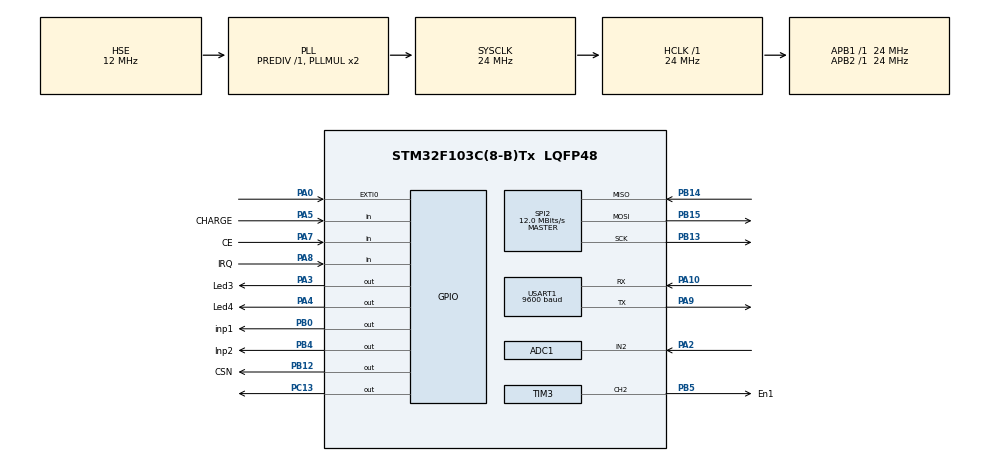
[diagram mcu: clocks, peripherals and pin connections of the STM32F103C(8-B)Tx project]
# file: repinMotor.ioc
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ADC1.Channel-0\#ChannelRegularConversion=ADC_CHANNEL_2
ADC1.NbrOfConversionFlag=1
ADC1.Rank-0\#ChannelRegularConversion=1
ADC1.SamplingTime-0\#ChannelRegularConversion=ADC_SAMPLETIME_1CYCLE_5
ADC1.master=1
Mcu.Family=STM32F1
Mcu.Name=STM32F103C(8-B)Tx
Mcu.Package=LQFP48
NVIC.EXTI0_IRQn=true\:1\:0\:true\:false\:true\:true\:true
NVIC.PriorityGroup=NVIC_PRIORITYGROUP_4
NVIC.SPI2_IRQn=true\:2\:0\:true\:false\:true\:true\:true
NVIC.USART1_IRQn=true\:2\:0\:true\:false\:true\:true\:true
PA0-WKUP.Signal=GPXTI0
PA10.Mode=Asynchronous
PA10.Signal=USART1_RX
PA13.Mode=Trace_Asynchronous_SW
PA13.Signal=SYS_JTMS-SWDIO
PA14.Mode=Trace_Asynchronous_SW
PA14.Signal=SYS_JTCK-SWCLK
PA2.Signal=ADCx_IN2
PA3.GPIO_Label=Led3
PA3.Signal=GPIO_Output
PA4.GPIO_Label=Led4
PA4.Signal=GPIO_Output
PA5.GPIO_Label=CHARGE
PA5.Signal=GPIO_Input
PA7.GPIO_Label=CE
PA7.Signal=GPIO_Input
PA8.GPIO_Label=IRQ
PA8.Signal=GPIO_Input
PA9.Mode=Asynchronous
PA9.Signal=USART1_TX
PB0.GPIO_Label=inp1
PB0.Signal=GPIO_Output
PB12.GPIO_Label=CSN
PB12.Signal=GPIO_Output
PB13.Mode=Full_Duplex_Master
PB13.Signal=SPI2_SCK
PB14.Mode=Full_Duplex_Master
PB14.Signal=SPI2_MISO
PB15.Mode=Full_Duplex_Master
PB15.Signal=SPI2_MOSI
PB3.Mode=Trace_Asynchronous_SW
PB3.Signal=SYS_JTDO-TRACESWO
PB4.GPIO_Label=Inp2
PB4.Signal=GPIO_Output
PB5.GPIO_Label=En1
PB5.Signal=S_TIM3_CH2
PC13-TAMPER-RTC.Signal=GPIO_Output
PD0-OSC_IN.Mode=HSE-External-Oscillator
PD0-OSC_IN.Signal=RCC_OSC_IN
PD1-OSC_OUT.Mode=HSE-External-Oscillator
PD1-OSC_OUT.Signal=RCC_OSC_OUT
ProjectManager.HeapSize=0x200
ProjectManager.StackSize=0x400
ProjectManager.TargetToolchain=MDK-ARM V5
RCC.AHBFreq_Value=24000000
RCC.APB1Freq_Value=24000000
RCC.APB1TimFreq_Value=24000000
RCC.APB2Freq_Value=24000000
RCC.APB2TimFreq_Value=24000000
RCC.HCLKFreq_Value=24000000
RCC.HSE_VALUE=12000000
RCC.PLLSourceVirtual=RCC_PLLSOURCE_HSE
RCC.SYSCLKFreq_VALUE=24000000
RCC.SYSCLKSource=RCC_SYSCLKSOURCE_PLLCLK
RCC.USBFreq_Value=24000000
SH.ADCx_IN2.0=ADC1_IN2,IN2
SH.S_TIM3_CH2.0=TIM3_CH2,PWM Generation2 CH2
SPI2.BaudRatePrescaler=SPI_BAUDRATEPRESCALER_2
SPI2.CalculateBaudRate=12.0 MBits/s
SPI2.Direction=SPI_DIRECTION_2LINES
SPI2.Mode=SPI_MODE_MASTER
SPI2.VirtualType=VM_MASTER
TIM3.Channel-PWM\ Generation2\ CH2=TIM_CHANNEL_2
USART1.BaudRate=9600
USART1.VirtualMode=VM_ASYNC
VP_TIM3_VS_ClockSourceINT.Mode=Internal
board=custom

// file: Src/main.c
/* USER CODE BEGIN Header */
/**
  ******************************************************************************
  * @file           : main.c
  * @brief          : Main program body
  ******************************************************************************
  * @attention
  *
  * <h2><center>&copy; Copyright (c) 2019 STMicroelectronics.
  * All rights reserved.</center></h2>
  *
  * This software component is licensed by ST under BSD 3-Clause license,
  * the "License"; You may not use this file except in compliance with the
  * License. You may obtain a copy of the License at:
  *                        opensource.org/licenses/BSD-3-Clause
  *
  ******************************************************************************
  */
/* USER CODE END Header */

#include "main.h"

/* USER CODE BEGIN Includes */
#include "MotorLib.h"
#include "nrf24.h"
#include "nrf24_hal.h"
/* USER CODE END Includes */

/* USER CODE BEGIN PTD */
#ifdef __GNUC__
/* With GCC/RAISONANCE, small printf (option LD Linker->Libraries->Small printf
   set to 'Yes') calls __io_putchar() */
#define PUTCHAR_PROTOTYPE int __io_putchar(int ch)
#else
#define PUTCHAR_PROTOTYPE int fputc(int ch, FILE *f)
#endif /* __GNUC__ */
#include <stdbool.h>
/* USER CODE END PTD */

ADC_HandleTypeDef hadc1;

SPI_HandleTypeDef hspi2;

TIM_HandleTypeDef htim3;

UART_HandleTypeDef huart1;

void SystemClock_Config(void);
static void MX_GPIO_Init(void);
static void MX_USART1_UART_Init(void);
static void MX_SPI2_Init(void);
static void MX_TIM3_Init(void);
static void MX_ADC1_Init(void);
/* USER CODE BEGIN PFP */
    static const uint8_t nRF24_ADDR0[] = { 0x01,0x01,0xE7, 0x1C, 0xE1};
		static const uint8_t nRF24_ADDR1[] = {  0x01,0x01,0xE7, 0x1C, 0xE2 };
		static const uint8_t nRF24_ADDR2[] = {  0x01,0x01,0xE7, 0x1C, 0xE3 };
		static const uint8_t nRF24_ADDR3[] = {  0x01,0x01,0xE7, 0x1C, 0xE4 };
		static const uint8_t nRF24_ADDR4[] = {  0x01,0x01,0xE7, 0x1C, 0xE5 };
		static const uint8_t nRF24_ADDR5[] = {  0x01,0x01,0xE7, 0x1C, 0xE6 };

/* USER CODE END PFP */

/* USER CODE BEGIN 0 */
PUTCHAR_PROTOTYPE
{
  /* Place your implementation of fputc here */
  /* e.g. write a character to the USART1 and Loop until the end of transmission */
  HAL_UART_Transmit(&huart1, (uint8_t *)&ch, 1, 0xFFFF);

  return ch;
}

		uint32_t	cw=0;
		uint8_t SerialModule[4];
uint16_t temp_count_error=0;
uint16_t temp_count=0;
uint8_t temp_old=0;
uint8_t payload_length=10;
uint32_t i,j,k;
uint8_t monitoreFlag=0;
// Buffer to store a payload of maximum width
uint8_t nRF24_payload[32]={0};

// Pipe number
nRF24_RXResult pipe;
#define nRF24_WAIT_TIMEOUT         (uint32_t)0x000FFFFF

// Result of packet transmission
typedef enum {
	nRF24_TX_ERROR  = (uint8_t)0x00, // Unknown error
	nRF24_TX_SUCCESS,                // Packet has been transmitted successfully
	nRF24_TX_TIMEOUT,                // It was timeout during packet transmit
	nRF24_TX_MAXRT                   // Transmit failed with maximum auto retransmit count
} nRF24_TXResult;

nRF24_TXResult tx_res;

// Function to transmit data packet
// input:
//   pBuf - pointer to the buffer with data to transmit
//   length - length of the data buffer in bytes
// return: one of nRF24_TX_xx values
nRF24_TXResult nRF24_TransmitPacket(uint8_t *pBuf, uint8_t length) {
	volatile uint32_t wait = nRF24_WAIT_TIMEOUT;
	uint8_t status;

	// Deassert the CE pin (in case if it still high)
	nRF24_CE_L();

	// Transfer a data from the specified buffer to the TX FIFO
	nRF24_WritePayload(pBuf, length);

	// Start a transmission by asserting CE pin (must be held at least 10us)
	nRF24_CE_H();

	// Poll the transceiver status register until one of the following flags will be set:
	//   TX_DS  - means the packet has been transmitted
	//   MAX_RT - means the maximum number of TX retransmits happened
	// note: this solution is far from perfect, better to use IRQ instead of polling the status
	do {
		status = nRF24_GetStatus();
		if (status & (nRF24_FLAG_TX_DS | nRF24_FLAG_MAX_RT)) {
			break;
		}
	} while (wait--);

	// Deassert the CE pin (Standby-II --> Standby-I)
	nRF24_CE_L();

	if (!wait) {
		// Timeout
		return nRF24_TX_TIMEOUT;
	}

	// Check the flags in STATUS register
//	printf("[");
//	printf("%d",status);
//	printf("] ");

	// Clear pending IRQ flags
    nRF24_ClearIRQFlags();

	if (status & nRF24_FLAG_MAX_RT) {
		// Auto retransmit counter exceeds the programmed maximum limit (FIFO is not removed)
		return nRF24_TX_MAXRT;
	}

	if (status & nRF24_FLAG_TX_DS) {
		// Successful transmission
		return nRF24_TX_SUCCESS;
	}

	// Some banana happens, a payload remains in the TX FIFO, flush it
	nRF24_FlushTX();

	return nRF24_TX_ERROR;
}

//1- iamhere 2- return data valid
void TransmitComand (uint8_t comandIdent,uint8_t tempArr[payload_length]){

	uint8_t Ident[]={2,100,100,100,100,100,100,100,100,100};

	Ident[1]=SerialModule[0];
	Ident[2]=SerialModule[1];
	Ident[3]=comandIdent;

	switch(comandIdent){
		case 1:
		//nop

		break;

		case 2:
		Ident[4]=tempArr[4];
		Ident[5]=tempArr[5];
		Ident[6]=tempArr[6];

		break;
	}
			nRF24_SetPowerMode(nRF24_PWR_DOWN);
    nRF24_SetTXPower(nRF24_TXPWR_0dBm);
    nRF24_SetOperationalMode(nRF24_MODE_TX);
    nRF24_ClearIRQFlags();
	  nRF24_SetAddr(nRF24_PIPETX, nRF24_ADDR2);
    nRF24_SetPowerMode(nRF24_PWR_UP);

	    tx_res = nRF24_TransmitPacket(Ident, payload_length);// data load

//	switch (tx_res) {
//			case nRF24_TX_SUCCESS:
//				printf("OK");
//				break;
//			case nRF24_TX_TIMEOUT:
//				printf("TIMEOUT");
//				break;
//			case nRF24_TX_MAXRT:
//				printf("MAX RETRANSMIT");
//				break;
//			default:
//				printf("ERROR");
//				break;
//		}
//    	printf("\r\n");

			nRF24_SetPowerMode(nRF24_PWR_DOWN);
    nRF24_SetOperationalMode(nRF24_MODE_RX);
    nRF24_SetPowerMode(nRF24_PWR_UP);
    nRF24_CE_H();
}

void TransmitIdentification (){
uint8_t Ident[]={2,100,100,100,100,100,100,100,100,100};

	Ident[1]=SerialModule[0];
	Ident[2]=SerialModule[1];
	Ident[3]=1;

  	nRF24_SetPowerMode(nRF24_PWR_DOWN);
    // Set TX power (maximum)
    nRF24_SetTXPower(nRF24_TXPWR_0dBm);
    // Set operational mode (PTX == transmitter)
    nRF24_SetOperationalMode(nRF24_MODE_TX);
    // Clear any pending IRQ flags
    nRF24_ClearIRQFlags();
	nRF24_SetAddr(nRF24_PIPETX, nRF24_ADDR2);
    // Wake the transceiver
    nRF24_SetPowerMode(nRF24_PWR_UP);

	    	tx_res = nRF24_TransmitPacket(Ident, payload_length);
    	switch (tx_res) {
			case nRF24_TX_SUCCESS:
				printf("OK");
				break;
			case nRF24_TX_TIMEOUT:
				printf("TIMEOUT");
				break;
			case nRF24_TX_MAXRT:
				printf("MAX RETRANSMIT");
				break;
			default:
				printf("ERROR");
				break;
		}
    	printf("\r\n");

			nRF24_SetPowerMode(nRF24_PWR_DOWN);

		 // Set operational mode (PRX == receiver)
    nRF24_SetOperationalMode(nRF24_MODE_RX);

    // Wake the transceiver
    nRF24_SetPowerMode(nRF24_PWR_UP);

    // Put the transceiver to the RX mode
    nRF24_CE_H();

}

/* USER CODE END 0 */

int main(void)
{
  /* USER CODE BEGIN 1 */
		volatile uint32_t *UniqueID = (uint32_t *)0x1FFFF7E8;
	volatile uint32_t __UniqueID[3];
	__UniqueID[0] = UniqueID[0];
	__UniqueID[1] = UniqueID[1];
	__UniqueID[2] = UniqueID[2];

	SerialModule[0]=__UniqueID[2];
	SerialModule[1]=__UniqueID[2]>>8;
	SerialModule[2]=__UniqueID[2]>>16;
	SerialModule[3]=__UniqueID[2]>>24;

  /* USER CODE END 1 */

  /* MCU Configuration--------------------------------------------------------*/

  /* Reset of all peripherals, Initializes the Flash interface and the Systick. */
  HAL_Init();

  /* Configure the system clock */
  SystemClock_Config();

  /* Initialize all configured peripherals */
  MX_GPIO_Init();
  MX_USART1_UART_Init();
  MX_SPI2_Init();
  MX_TIM3_Init();
  MX_ADC1_Init();
  /* USER CODE BEGIN 2 */

 HAL_TIM_PWM_Start(&htim3, TIM_CHANNEL_2);
 printf("\r\nSTM32F103RET6 is online.\r\n");

     // RX/TX disabled
    nRF24_CE_L();

		 	 HAL_GPIO_WritePin(GPIOA, GPIO_PIN_3, GPIO_PIN_SET);
			 HAL_Delay(2000);
		 	 HAL_GPIO_WritePin(GPIOA, GPIO_PIN_3, GPIO_PIN_RESET);

							  HAL_Delay(3000);
		    // Configure the nRF24L01+
    printf("nRF24L01+ check: ");

    while (!nRF24_Check()) {
    	printf("FAIL\r\n");
			HAL_Delay(1000);
    }

	printf("OK\r\n");
		 HAL_GPIO_WritePin(GPIOA, GPIO_PIN_3,GPIO_PIN_SET);
		  // Initialize the nRF24L01 to its default state
    nRF24_Init();

    // Disable ShockBurst for all RX pipes
    nRF24_DisableAA(0xFF);

    // Set RF channel
    nRF24_SetRFChannel(115);

    // Set data rate
    nRF24_SetDataRate(nRF24_DR_2Mbps);

    // Set CRC scheme
    nRF24_SetCRCScheme(nRF24_CRC_2byte);

    // Set address width, its common for all pipes (RX and TX)
    nRF24_SetAddrWidth(5);

    // Configure RX PIPE#0

    nRF24_SetAddr(nRF24_PIPE0, nRF24_ADDR0); // program address for RX pipe #0
		nRF24_SetAddr(nRF24_PIPE1, nRF24_ADDR1); // program address for RX pipe #1
		nRF24_SetAddr(nRF24_PIPE2, nRF24_ADDR2); // program address for RX pipe #2
		nRF24_SetAddr(nRF24_PIPE3, nRF24_ADDR3); // program address for RX pipe #3
		nRF24_SetAddr(nRF24_PIPE4, nRF24_ADDR4); // program address for RX pipe #4
		nRF24_SetAddr(nRF24_PIPE5, nRF24_ADDR5); // program address for RX pipe #5
    //nRF24_SetRXPipe(nRF24_PIPE0, nRF24_AA_OFF, 6);
		nRF24_SetRXPipe(nRF24_PIPE1, nRF24_AA_OFF, 10);
		//nRF24_SetRXPipe(nRF24_PIPE2, nRF24_AA_OFF, 6);
		//nRF24_SetRXPipe(nRF24_PIPE3, nRF24_AA_OFF, 6);
		//nRF24_SetRXPipe(nRF24_PIPE4, nRF24_AA_OFF, 6);
		//nRF24_SetRXPipe(nRF24_PIPE5, nRF24_AA_OFF, 6);

// nRF24_SetRXPipe(nRF24_PIPE1, nRF24_AA_ON, 10); // Auto-ACK: enabled, payload length: 10 bytes

    // Set operational mode (PRX == receiver)
    nRF24_SetOperationalMode(nRF24_MODE_RX);

  nRF24_ClearIRQFlags();

    // Wake the transceiver
    nRF24_SetPowerMode(nRF24_PWR_UP);

    // Put the transceiver to the RX mode
    nRF24_CE_H();

//__Set_Speed(50,1,1);

  /* USER CODE END 2 */

  /* Infinite loop */
  /* USER CODE BEGIN WHILE */
  while (1)
  {

		    	if (nRF24_GetStatus_RXFIFO() != nRF24_STATUS_RXFIFO_EMPTY) {
    		pipe = nRF24_ReadPayload(nRF24_payload, &payload_length);

			nRF24_ClearIRQFlags();

				if(temp_old!=(nRF24_payload[4]-1)){
					temp_count_error++;
					printf("temp_count_error=%d  ",temp_count_error);
					printf("packet lose=%d%%  ",100/(temp_count/(temp_count_error-temp_count/80)));
					printf("temp_count=%d",temp_count);
						printf("\r\n");
				}
	temp_count++;

	temp_old=nRF24_payload[4];

__Set_Speed(nRF24_payload[4],nRF24_payload[5],nRF24_payload[6]);
TransmitComand(2,nRF24_payload);
    	}
			else{
	if(monitoreFlag==1){
				TransmitIdentification();
		monitoreFlag=0;
	}
}

    /* USER CODE END WHILE */

  }
}

void SystemClock_Config(void)
{
  RCC_OscInitTypeDef RCC_OscInitStruct = {0};
  RCC_ClkInitTypeDef RCC_ClkInitStruct = {0};
  RCC_PeriphCLKInitTypeDef PeriphClkInit = {0};

  /** Initializes the CPU, AHB and APB busses clocks
  */
  RCC_OscInitStruct.OscillatorType = RCC_OSCILLATORTYPE_HSE;
  RCC_OscInitStruct.HSEState = RCC_HSE_ON;
  RCC_OscInitStruct.HSEPredivValue = RCC_HSE_PREDIV_DIV1;
  RCC_OscInitStruct.HSIState = RCC_HSI_ON;
  RCC_OscInitStruct.PLL.PLLState = RCC_PLL_ON;
  RCC_OscInitStruct.PLL.PLLSource = RCC_PLLSOURCE_HSE;
  RCC_OscInitStruct.PLL.PLLMUL = RCC_PLL_MUL2;
  if (HAL_RCC_OscConfig(&RCC_OscInitStruct) != HAL_OK)
  {
    Error_Handler();
  }
  /** Initializes the CPU, AHB and APB busses clocks
  */
  RCC_ClkInitStruct.ClockType = RCC_CLOCKTYPE_HCLK|RCC_CLOCKTYPE_SYSCLK
                              |RCC_CLOCKTYPE_PCLK1|RCC_CLOCKTYPE_PCLK2;
  RCC_ClkInitStruct.SYSCLKSource = RCC_SYSCLKSOURCE_PLLCLK;
  RCC_ClkInitStruct.AHBCLKDivider = RCC_SYSCLK_DIV1;
  RCC_ClkInitStruct.APB1CLKDivider = RCC_HCLK_DIV1;
  RCC_ClkInitStruct.APB2CLKDivider = RCC_HCLK_DIV1;

  if (HAL_RCC_ClockConfig(&RCC_ClkInitStruct, FLASH_LATENCY_0) != HAL_OK)
  {
    Error_Handler();
  }
  PeriphClkInit.PeriphClockSelection = RCC_PERIPHCLK_ADC;
  PeriphClkInit.AdcClockSelection = RCC_ADCPCLK2_DIV2;
  if (HAL_RCCEx_PeriphCLKConfig(&PeriphClkInit) != HAL_OK)
  {
    Error_Handler();
  }
}

static void MX_ADC1_Init(void)
{

  ADC_ChannelConfTypeDef sConfig = {0};

  /** Common config
  */
  hadc1.Instance = ADC1;
  hadc1.Init.ScanConvMode = ADC_SCAN_DISABLE;
  hadc1.Init.ContinuousConvMode = DISABLE;
  hadc1.Init.DiscontinuousConvMode = DISABLE;
  hadc1.Init.ExternalTrigConv = ADC_SOFTWARE_START;
  hadc1.Init.DataAlign = ADC_DATAALIGN_RIGHT;
  hadc1.Init.NbrOfConversion = 1;
  if (HAL_ADC_Init(&hadc1) != HAL_OK)
  {
    Error_Handler();
  }
  /** Configure Regular Channel
  */
  sConfig.Channel = ADC_CHANNEL_2;
  sConfig.Rank = ADC_REGULAR_RANK_1;
  sConfig.SamplingTime = ADC_SAMPLETIME_1CYCLE_5;
  if (HAL_ADC_ConfigChannel(&hadc1, &sConfig) != HAL_OK)
  {
    Error_Handler();
  }

}

static void MX_SPI2_Init(void)
{

  /* SPI2 parameter configuration*/
  hspi2.Instance = SPI2;
  hspi2.Init.Mode = SPI_MODE_MASTER;
  hspi2.Init.Direction = SPI_DIRECTION_2LINES;
  hspi2.Init.DataSize = SPI_DATASIZE_8BIT;
  hspi2.Init.CLKPolarity = SPI_POLARITY_LOW;
  hspi2.Init.CLKPhase = SPI_PHASE_1EDGE;
  hspi2.Init.NSS = SPI_NSS_SOFT;
  hspi2.Init.BaudRatePrescaler = SPI_BAUDRATEPRESCALER_2;
  hspi2.Init.FirstBit = SPI_FIRSTBIT_MSB;
  hspi2.Init.TIMode = SPI_TIMODE_DISABLE;
  hspi2.Init.CRCCalculation = SPI_CRCCALCULATION_DISABLE;
  hspi2.Init.CRCPolynomial = 10;
  if (HAL_SPI_Init(&hspi2) != HAL_OK)
  {
    Error_Handler();
  }

}

static void MX_TIM3_Init(void)
{

  TIM_ClockConfigTypeDef sClockSourceConfig = {0};
  TIM_MasterConfigTypeDef sMasterConfig = {0};
  TIM_OC_InitTypeDef sConfigOC = {0};

  htim3.Instance = TIM3;
  htim3.Init.Prescaler = _MotorPwmDevider;
  htim3.Init.CounterMode = TIM_COUNTERMODE_UP;
  htim3.Init.Period = _MotorPwmPeriod;
  htim3.Init.ClockDivision = TIM_CLOCKDIVISION_DIV1;
  htim3.Init.AutoReloadPreload = TIM_AUTORELOAD_PRELOAD_DISABLE;
  if (HAL_TIM_Base_Init(&htim3) != HAL_OK)
  {
    Error_Handler();
  }
  sClockSourceConfig.ClockSource = TIM_CLOCKSOURCE_INTERNAL;
  if (HAL_TIM_ConfigClockSource(&htim3, &sClockSourceConfig) != HAL_OK)
  {
    Error_Handler();
  }
  if (HAL_TIM_PWM_Init(&htim3) != HAL_OK)
  {
    Error_Handler();
  }
  sMasterConfig.MasterOutputTrigger = TIM_TRGO_RESET;
  sMasterConfig.MasterSlaveMode = TIM_MASTERSLAVEMODE_DISABLE;
  if (HAL_TIMEx_MasterConfigSynchronization(&htim3, &sMasterConfig) != HAL_OK)
  {
    Error_Handler();
  }
  sConfigOC.OCMode = TIM_OCMODE_PWM1;
  sConfigOC.Pulse = 0;
  sConfigOC.OCPolarity = TIM_OCPOLARITY_HIGH;
  sConfigOC.OCFastMode = TIM_OCFAST_DISABLE;
  if (HAL_TIM_PWM_ConfigChannel(&htim3, &sConfigOC, TIM_CHANNEL_2) != HAL_OK)
  {
    Error_Handler();
  }
  HAL_TIM_MspPostInit(&htim3);

}

static void MX_USART1_UART_Init(void)
{

  huart1.Instance = USART1;
  huart1.Init.BaudRate = 256000;
  huart1.Init.WordLength = UART_WORDLENGTH_8B;
  huart1.Init.StopBits = UART_STOPBITS_1;
  huart1.Init.Parity = UART_PARITY_NONE;
  huart1.Init.Mode = UART_MODE_TX_RX;
  huart1.Init.HwFlowCtl = UART_HWCONTROL_NONE;
  huart1.Init.OverSampling = UART_OVERSAMPLING_16;
  if (HAL_UART_Init(&huart1) != HAL_OK)
  {
    Error_Handler();
  }

}

static void MX_GPIO_Init(void)
{
  GPIO_InitTypeDef GPIO_InitStruct = {0};

  /* GPIO Ports Clock Enable */
  __HAL_RCC_GPIOC_CLK_ENABLE();
  __HAL_RCC_GPIOD_CLK_ENABLE();
  __HAL_RCC_GPIOA_CLK_ENABLE();
  __HAL_RCC_GPIOB_CLK_ENABLE();

  /*Configure GPIO pin Output Level */
  HAL_GPIO_WritePin(GPIOA, Led3_Pin|Led4_Pin, GPIO_PIN_RESET);

  /*Configure GPIO pin Output Level */
  HAL_GPIO_WritePin(GPIOB, inp1_Pin|CSN_Pin|Inp2_Pin, GPIO_PIN_RESET);

  /*Configure GPIO pin : PA0 */
  GPIO_InitStruct.Pin = GPIO_PIN_0;
  GPIO_InitStruct.Mode = GPIO_MODE_IT_RISING;
  GPIO_InitStruct.Pull = GPIO_NOPULL;
  HAL_GPIO_Init(GPIOA, &GPIO_InitStruct);

  /*Configure GPIO pins : Led3_Pin Led4_Pin */
  GPIO_InitStruct.Pin = Led3_Pin|Led4_Pin;
  GPIO_InitStruct.Mode = GPIO_MODE_OUTPUT_PP;
  GPIO_InitStruct.Pull = GPIO_NOPULL;
  GPIO_InitStruct.Speed = GPIO_SPEED_FREQ_LOW;
  HAL_GPIO_Init(GPIOA, &GPIO_InitStruct);

  /*Configure GPIO pins : CHARGE_Pin CE_Pin IRQ_Pin */
  GPIO_InitStruct.Pin = CHARGE_Pin|CE_Pin|IRQ_Pin;
  GPIO_InitStruct.Mode = GPIO_MODE_INPUT;
  GPIO_InitStruct.Pull = GPIO_NOPULL;
  HAL_GPIO_Init(GPIOA, &GPIO_InitStruct);

  /*Configure GPIO pins : inp1_Pin CSN_Pin Inp2_Pin */
  GPIO_InitStruct.Pin = inp1_Pin|CSN_Pin|Inp2_Pin;
  GPIO_InitStruct.Mode = GPIO_MODE_OUTPUT_PP;
  GPIO_InitStruct.Pull = GPIO_NOPULL;
  GPIO_InitStruct.Speed = GPIO_SPEED_FREQ_LOW;
  HAL_GPIO_Init(GPIOB, &GPIO_InitStruct);

  /* EXTI interrupt init*/
  HAL_NVIC_SetPriority(EXTI0_IRQn, 1, 0);
  HAL_NVIC_EnableIRQ(EXTI0_IRQn);

}

void Error_Handler(void)
{
}

/************************ (C) COPYRIGHT STMicroelectronics *****END OF FILE****/
